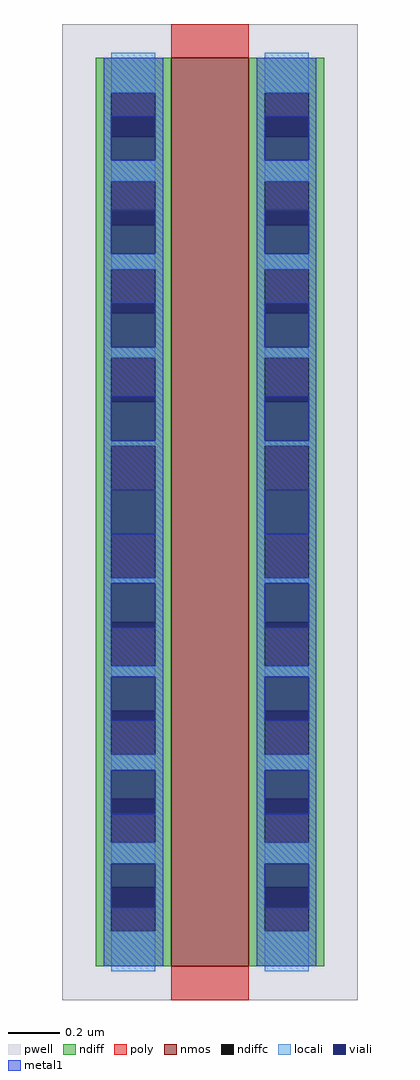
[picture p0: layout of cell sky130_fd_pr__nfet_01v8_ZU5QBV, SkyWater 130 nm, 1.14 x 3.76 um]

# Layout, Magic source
magic
tech sky130A
magscale 1 2
<< pwell >>
rect -114 -376 114 376
<< nmos >>
rect -30 -350 30 350
<< ndiff >>
rect -88 323 -30 350
rect -88 289 -76 323
rect -42 289 -30 323
rect -88 255 -30 289
rect -88 221 -76 255
rect -42 221 -30 255
rect -88 187 -30 221
rect -88 153 -76 187
rect -42 153 -30 187
rect -88 119 -30 153
rect -88 85 -76 119
rect -42 85 -30 119
rect -88 51 -30 85
rect -88 17 -76 51
rect -42 17 -30 51
rect -88 -17 -30 17
rect -88 -51 -76 -17
rect -42 -51 -30 -17
rect -88 -85 -30 -51
rect -88 -119 -76 -85
rect -42 -119 -30 -85
rect -88 -153 -30 -119
rect -88 -187 -76 -153
rect -42 -187 -30 -153
rect -88 -221 -30 -187
rect -88 -255 -76 -221
rect -42 -255 -30 -221
rect -88 -289 -30 -255
rect -88 -323 -76 -289
rect -42 -323 -30 -289
rect -88 -350 -30 -323
rect 30 323 88 350
rect 30 289 42 323
rect 76 289 88 323
rect 30 255 88 289
rect 30 221 42 255
rect 76 221 88 255
rect 30 187 88 221
rect 30 153 42 187
rect 76 153 88 187
rect 30 119 88 153
rect 30 85 42 119
rect 76 85 88 119
rect 30 51 88 85
rect 30 17 42 51
rect 76 17 88 51
rect 30 -17 88 17
rect 30 -51 42 -17
rect 76 -51 88 -17
rect 30 -85 88 -51
rect 30 -119 42 -85
rect 76 -119 88 -85
rect 30 -153 88 -119
rect 30 -187 42 -153
rect 76 -187 88 -153
rect 30 -221 88 -187
rect 30 -255 42 -221
rect 76 -255 88 -221
rect 30 -289 88 -255
rect 30 -323 42 -289
rect 76 -323 88 -289
rect 30 -350 88 -323
<< ndiffc >>
rect -76 289 -42 323
rect -76 221 -42 255
rect -76 153 -42 187
rect -76 85 -42 119
rect -76 17 -42 51
rect -76 -51 -42 -17
rect -76 -119 -42 -85
rect -76 -187 -42 -153
rect -76 -255 -42 -221
rect -76 -323 -42 -289
rect 42 289 76 323
rect 42 221 76 255
rect 42 153 76 187
rect 42 85 76 119
rect 42 17 76 51
rect 42 -51 76 -17
rect 42 -119 76 -85
rect 42 -187 76 -153
rect 42 -255 76 -221
rect 42 -323 76 -289
<< poly >>
rect -30 350 30 376
rect -30 -376 30 -350
<< locali >>
rect -76 323 -42 354
rect -76 255 -42 271
rect -76 187 -42 199
rect -76 119 -42 127
rect -76 51 -42 55
rect -76 -55 -42 -51
rect -76 -127 -42 -119
rect -76 -199 -42 -187
rect -76 -271 -42 -255
rect -76 -354 -42 -323
rect 42 323 76 354
rect 42 255 76 271
rect 42 187 76 199
rect 42 119 76 127
rect 42 51 76 55
rect 42 -55 76 -51
rect 42 -127 76 -119
rect 42 -199 76 -187
rect 42 -271 76 -255
rect 42 -354 76 -323
<< viali >>
rect -76 289 -42 305
rect -76 271 -42 289
rect -76 221 -42 233
rect -76 199 -42 221
rect -76 153 -42 161
rect -76 127 -42 153
rect -76 85 -42 89
rect -76 55 -42 85
rect -76 -17 -42 17
rect -76 -85 -42 -55
rect -76 -89 -42 -85
rect -76 -153 -42 -127
rect -76 -161 -42 -153
rect -76 -221 -42 -199
rect -76 -233 -42 -221
rect -76 -289 -42 -271
rect -76 -305 -42 -289
rect 42 289 76 305
rect 42 271 76 289
rect 42 221 76 233
rect 42 199 76 221
rect 42 153 76 161
rect 42 127 76 153
rect 42 85 76 89
rect 42 55 76 85
rect 42 -17 76 17
rect 42 -85 76 -55
rect 42 -89 76 -85
rect 42 -153 76 -127
rect 42 -161 76 -153
rect 42 -221 76 -199
rect 42 -233 76 -221
rect 42 -289 76 -271
rect 42 -305 76 -289
<< metal1 >>
rect -82 305 -36 350
rect -82 271 -76 305
rect -42 271 -36 305
rect -82 233 -36 271
rect -82 199 -76 233
rect -42 199 -36 233
rect -82 161 -36 199
rect -82 127 -76 161
rect -42 127 -36 161
rect -82 89 -36 127
rect -82 55 -76 89
rect -42 55 -36 89
rect -82 17 -36 55
rect -82 -17 -76 17
rect -42 -17 -36 17
rect -82 -55 -36 -17
rect -82 -89 -76 -55
rect -42 -89 -36 -55
rect -82 -127 -36 -89
rect -82 -161 -76 -127
rect -42 -161 -36 -127
rect -82 -199 -36 -161
rect -82 -233 -76 -199
rect -42 -233 -36 -199
rect -82 -271 -36 -233
rect -82 -305 -76 -271
rect -42 -305 -36 -271
rect -82 -350 -36 -305
rect 36 305 82 350
rect 36 271 42 305
rect 76 271 82 305
rect 36 233 82 271
rect 36 199 42 233
rect 76 199 82 233
rect 36 161 82 199
rect 36 127 42 161
rect 76 127 82 161
rect 36 89 82 127
rect 36 55 42 89
rect 76 55 82 89
rect 36 17 82 55
rect 36 -17 42 17
rect 76 -17 82 17
rect 36 -55 82 -17
rect 36 -89 42 -55
rect 76 -89 82 -55
rect 36 -127 82 -89
rect 36 -161 42 -127
rect 76 -161 82 -127
rect 36 -199 82 -161
rect 36 -233 42 -199
rect 76 -233 82 -199
rect 36 -271 82 -233
rect 36 -305 42 -271
rect 76 -305 82 -271
rect 36 -350 82 -305
<< end >>
